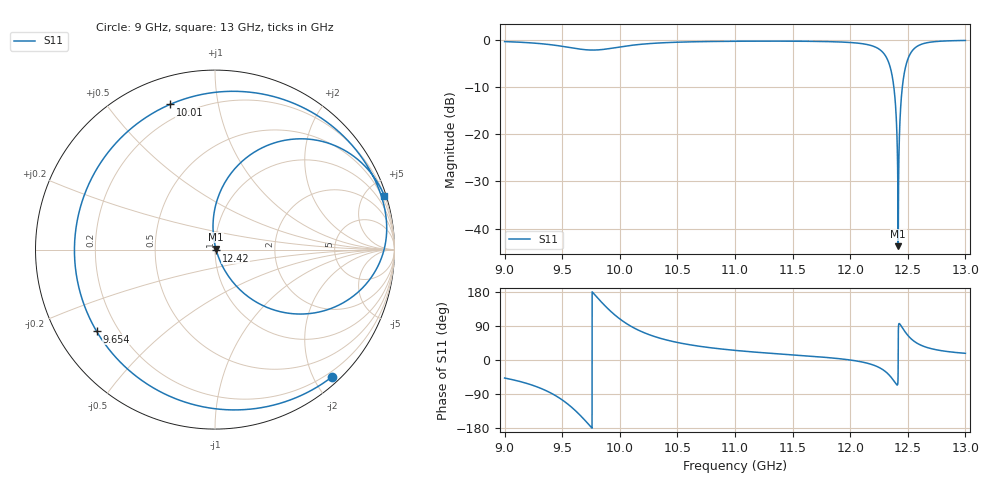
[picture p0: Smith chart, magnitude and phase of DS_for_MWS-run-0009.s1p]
! TOUCHSTONE file generated by CST DESIGN STUDIO
! Date and time: Tue Feb  4 17:58:51 2025
! Project name: C:\Work\MatlabApps\UnitCellOptimizationMatlab\CST\unitcell.cst
! Tree item: Tasks\Sweep1\SPara1\S-Parameters
! Header version: 2024
! Port assignment regex: !\s*Touchstone port\s*([0-9]+)\s*=\s*(CST MWS port|CST DES external port|CST DES block port)\s*(.+)\s* \(\"(.*)\"\)(\s*mode\s*([0-9]+))?.*
! Touchstone port assignment:
! Touchstone port 1 = CST DES external port 1 ("")
# GHz S MA R 50
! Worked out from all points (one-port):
!   4001 points, 9 GHz to 13 GHz, reference 50 ohm
!   lowest |S11| = -43.7 dB at 12.42 GHz (marker M1), VSWR 1.01, Z = 50.5 + j0.423 ohm
!   |S11| at or under -10 dB: 12.38 GHz to 12.45 GHz (73.38 MHz wide, 0.591 % of centre)
!   S11 on the Smith chart (normalised r, x): 9 GHz: 0.12, -2.26; 9.654 GHz: 0.12, -0.31; 10.01 GHz: 0.13, +0.73; 12.42 GHz: 1.01, -0.01; 13 GHz: 0.21, +6.44
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9  0.9629 -47.6
9.268  0.9258 -69.4
9.5  0.8584 -105.3
9.654  0.8016 -145.3
9.733  0.7847 -171.0
9.807  0.7858 163.9
9.906  0.8107 132.7
10  0.845 108.4
10.005  0.8468 107.2
10.234  0.9128 69.2
10.5  0.9488 46.3
11  0.9707 25.4
11.5  0.9724 13.5
12  0.942 -0.0
12.208  0.8532 -14.1
12.322  0.6273 -34.7
12.375  0.3456 -53.4
12.39  0.2318 -59.9
12.403  0.1226 -65.0
12.416  0.008649 -31.5
12.417  0.006519 40.0
12.43  0.1214 95.2
12.443  0.2368 89.7
12.456  0.3449 83.6
12.5  0.6258 65.1
12.574  0.8465 45.5
12.661  0.9334 33.6
13  0.9901 17.6
